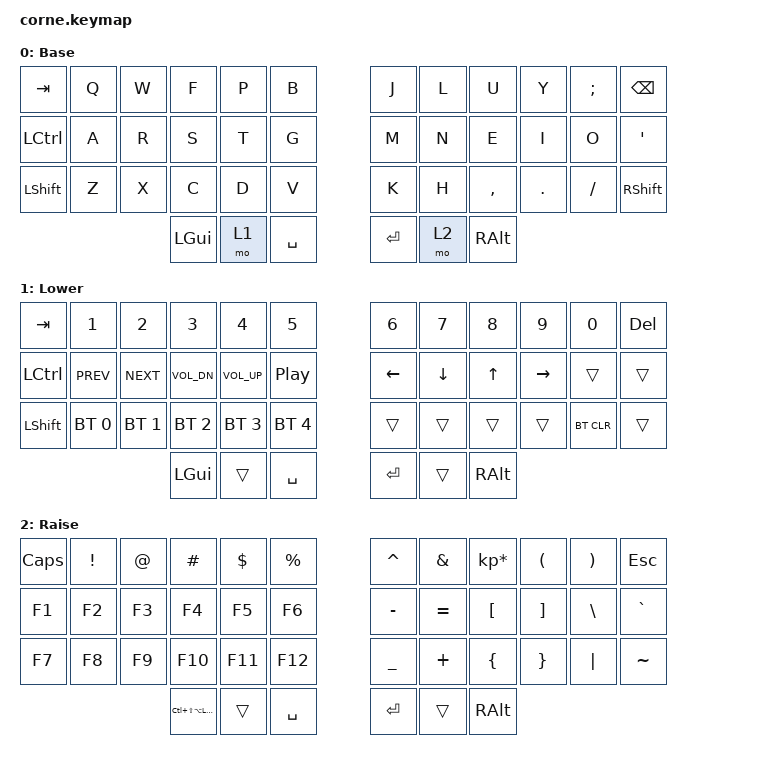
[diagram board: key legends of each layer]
/*
 * Copyright (c) 2020 The ZMK Contributors
 *
 * SPDX-License-Identifier: MIT
 */

#include <behaviors.dtsi>
#include <dt-bindings/zmk/bt.h>
#include <dt-bindings/zmk/keys.h>

/ {
    keymap {
        compatible = "zmk,keymap";

        default_layer {
            // -----------------------------------------------------------------------------------------
            // |  TAB |  Q  |  W  |  E  |  R  |  T  |   |  Y  |  U   |  I  |  O  |  P  | BKSP |
            // | CTRL |  A  |  S  |  D  |  F  |  G  |   |  H  |  J   |  K  |  L  |  ;  |  '   |
            // | SHFT |  Z  |  X  |  C  |  V  |  B  |   |  N  |  M   |  ,  |  .  |  /  | ESC  |
            //                    | GUI | LWR | SPC |   | ENT | RSE  | ALT |

            display-name = "Base";
            bindings = <
&kp TAB    &kp Q  &kp W  &kp F     &kp P  &kp B        &kp J    &kp L  &kp U      &kp Y    &kp SEMICOLON  &kp BSPC
&kp LCTRL  &kp A  &kp R  &kp S     &kp T  &kp G        &kp M    &kp N  &kp E      &kp I    &kp O          &kp SQT
&kp LSHFT  &kp Z  &kp X  &kp C     &kp D  &kp V        &kp K    &kp H  &kp COMMA  &kp DOT  &kp FSLH       &kp RIGHT_SHIFT
                         &kp LGUI  &mo 1  &kp SPACE    &kp RET  &mo 2  &kp RALT
            >;
        };

        lower_layer {
            // -----------------------------------------------------------------------------------------
            // |  TAB |  1  |  2  |  3  |  4  |  5  |   |  6  |  7  |  8  |  9  |  0  | BKSP |
            // | BTCLR| BT1 | BT2 | BT3 | BT4 | BT5 |   | LFT | DWN |  UP | RGT |     |      |
            // | SHFT |     |     |     |     |     |   |     |     |     |     |     |      |
            //                    | GUI |     | SPC |   | ENT |     | ALT |

            display-name = "Lower";
            bindings = <
&kp TAB    &kp N1        &kp N2        &kp N3        &kp N4        &kp N5          &kp N6    &kp N7    &kp N8    &kp N9     &kp N0      &kp DELETE
&kp LCTRL  &kp C_PREV    &kp C_NEXT    &kp C_VOL_DN  &kp C_VOL_UP  &kp C_PP        &kp LEFT  &kp DOWN  &kp UP    &kp RIGHT  &trans      &trans
&kp LSHFT  &bt BT_SEL 0  &bt BT_SEL 1  &bt BT_SEL 2  &bt BT_SEL 3  &bt BT_SEL 4    &trans    &trans    &trans    &trans     &bt BT_CLR  &trans
                                       &kp LGUI      &trans        &kp SPACE       &kp RET   &trans    &kp RALT
            >;
        };

        raise_layer {
            // -----------------------------------------------------------------------------------------
            // |  TAB |  !  |  @  |  #  |  $  |  %  |   |  ^  |  &  |  *  |  (  |  )  | BKSP |
            // | CTRL |     |     |     |     |     |   |  -  |  =  |  [  |  ]  |  \  |  `   |
            // | SHFT |     |     |     |     |     |   |  _  |  +  |  {  |  }  | "|" |  ~   |
            //                    | GUI |     | SPC |   | ENT |     | ALT |

            display-name = "Raise";
            bindings = <
&kp CAPSLOCK  &kp EXCL  &kp AT  &kp HASH              &kp DLLR  &kp PRCNT    &kp CARET  &kp AMPS   &kp KP_MULTIPLY  &kp LPAR  &kp RPAR  &kp ESCAPE
&kp F1        &kp F2    &kp F3  &kp F4                &kp F5    &kp F6       &kp MINUS  &kp EQUAL  &kp LBKT         &kp RBKT  &kp BSLH  &kp GRAVE
&kp F7        &kp F8    &kp F9  &kp F10               &kp F11   &kp F12      &kp UNDER  &kp PLUS   &kp LBRC         &kp RBRC  &kp PIPE  &kp TILDE
                                &kp LC(LS(LA(LGUI)))  &trans    &kp SPACE    &kp RET    &trans     &kp RALT
            >;
        };
    };
};
